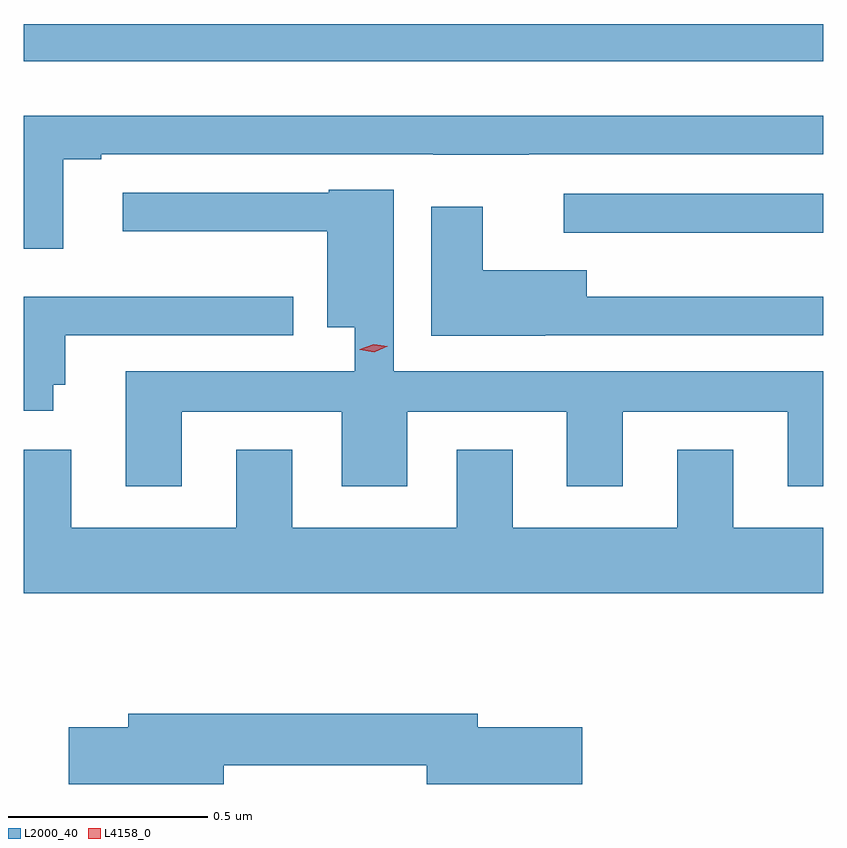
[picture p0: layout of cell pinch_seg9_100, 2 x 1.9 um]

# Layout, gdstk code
import gdstk
lib = gdstk.Library(unit=1e-6, precision=1e-09)
def R(c, l, rs):  # rectangles x0, y0, x1, y1
    for r in rs: c.add(gdstk.rectangle(r[:2], r[2:], *l))
def P(c, l, *ps):  # polygons
    for p in ps: c.add(gdstk.Polygon(p, *l))
L2000_40 = (2000, 40)
L4158_0 = (4158, 0)

pinch_seg9_100 = lib.new_cell('pinch_seg9_100')
R(pinch_seg9_100, L2000_40, [(1093.869,1193.327,1094.518,1193.424), (1092.518,1193.756,1094.518,1193.849)])
P(pinch_seg9_100, L2000_40, [(1092.616,1193.511),(1092.712,1193.511),(1092.712,1193.523),(1093.542,1193.523),(1093.542,1193.522),(1093.781,1193.522),(1093.781,1193.523),(1094.518,1193.523),(1094.518,1193.62),(1092.518,1193.62),(1092.518,1193.286),(1092.616,1193.286)],
  [(1092.913,1192.879),(1093.313,1192.879),(1093.313,1192.692),(1093.477,1192.692),(1093.477,1192.879),(1093.877,1192.879),(1093.877,1192.692),(1094.017,1192.692),(1094.017,1192.879),(1094.429,1192.879),(1094.429,1192.692),(1094.518,1192.692),(1094.518,1192.98),(1093.444,1192.98),(1093.444,1193.434),(1093.281,1193.434),(1093.281,1193.427),(1092.765,1193.427),(1092.765,1193.33),(1093.277,1193.33),(1093.277,1193.09),(1093.346,1193.09),(1093.346,1192.98),(1092.773,1192.98),(1092.773,1192.692),(1092.913,1192.692)],
  [(1093.823,1193.07),(1094.518,1193.07),(1094.518,1193.167),(1093.927,1193.167),(1093.927,1193.233),(1093.666,1193.233),(1093.666,1193.392),(1093.538,1193.392),(1093.538,1193.069),(1093.823,1193.069)],
  [(1092.592,1192.946),(1092.622,1192.946),(1092.622,1193.07),(1093.192,1193.07),(1093.192,1193.167),(1092.518,1193.167),(1092.518,1192.881),(1092.592,1192.881)],
  [(1094.518,1192.588),(1094.293,1192.588),(1094.293,1192.783),(1094.153,1192.783),(1094.153,1192.588),(1093.741,1192.588),(1093.741,1192.783),(1093.601,1192.783),(1093.601,1192.588),(1093.189,1192.588),(1093.189,1192.783),(1093.049,1192.783),(1093.049,1192.588),(1092.637,1192.588),(1092.637,1192.783),(1092.518,1192.783),(1092.518,1192.424),(1094.518,1192.424)],
  [(1093.018,1191.994),(1093.526,1191.994),(1093.526,1191.947),(1093.915,1191.947),(1093.915,1192.089),(1093.654,1192.089),(1093.654,1192.123),(1092.779,1192.123),(1092.779,1192.089),(1092.63,1192.089),(1092.63,1191.947),(1093.018,1191.947)])
P(pinch_seg9_100, L4158_0, [(1093.395,1193.028),(1093.359,1193.034),(1093.358,1193.035),(1093.359,1193.035),(1093.393,1193.048),(1093.429,1193.042),(1093.429,1193.042),(1093.429,1193.042)])

lib.write_gds('pinch_seg9_100.gds')
